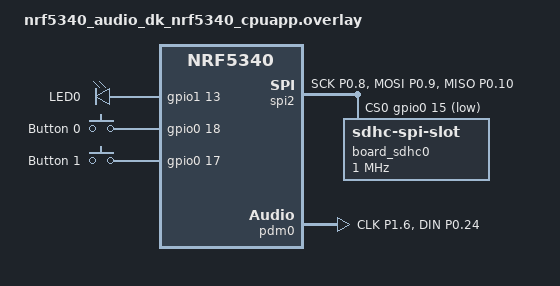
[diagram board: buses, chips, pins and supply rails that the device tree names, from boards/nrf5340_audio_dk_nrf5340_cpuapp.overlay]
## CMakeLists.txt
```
cmake_minimum_required(VERSION 3.20.0)
find_package(Zephyr REQUIRED HINTS $ENV{ZEPHYR_BASE})

project(nrf_auscultation)

target_sources(app PRIVATE src/main.c)
target_sources(app PRIVATE src/audio/wav_file.c)
target_sources(app PRIVATE src/modules/sd_card.c)
target_sources(app PRIVATE src/modules/button_handler.c)
target_sources(app PRIVATE src/audio/audio_stream.c)
```

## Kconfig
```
#
# Copyright (c) 2018 Nordic Semiconductor ASA
#
# SPDX-License-Identifier: LicenseRef-Nordic-5-Clause
#

menuconfig NRF5340_AUDIO
	 bool "nRF5340 Audio [EXPERIMENTAL]"
	 select EXPERIMENTAL

if NRF5340_AUDIO

config AUDIO_DEV
	int "Select which device type to compile for. 1=HEADSET or 2=GATEWAY"
	range 1 2
	default 1
	help
	  Setting this variable to 1 selects that the project is compiled
	  as a HEADSET device.
	  Setting to 2 will compile as a GATEWAY.

choice NRF5340_AUDIO_TRANSPORT_MODE
	prompt "Choose BIS or CIS for ISO transport"
	default TRANSPORT_CIS if WALKIE_TALKIE_DEMO
	default TRANSPORT_CIS

config TRANSPORT_BIS
	bool "Use BIS (Broadcast Isochronous Stream)"

config TRANSPORT_CIS
	bool "Use CIS (Connected Isochronous Stream)"

endchoice

#----------------------------------------------------------------------------#
#rsource "Kconfig.defaults"
#rsource "src/audio/Kconfig"
#rsource "src/bluetooth/Kconfig"
#rsource "src/drivers/Kconfig"
rsource "src/modules/Kconfig"
#rsource "src/utils/Kconfig"
#rsource "dfu/conf/Kconfig.dfu"

#----------------------------------------------------------------------------#
menu "Logging"

module = MAIN
module-str = main
source "subsys/logging/Kconfig.template.log_config"

config PRINT_STACK_USAGE_MS
	depends on THREAD_ANALYZER && INIT_STACKS
	int "Print stack usage every x milliseconds"
	default 5000

endmenu # Log levels

#----------------------------------------------------------------------------#
endif # NRF5340_AUDIO

source "Kconfig.zephyr"
```

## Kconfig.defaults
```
#
# Copyright (c) 2022 Nordic Semiconductor ASA
#
# SPDX-License-Identifier: LicenseRef-Nordic-5-Clause
#

config REBOOT
	default y

config MAIN_THREAD_PRIORITY
	default 10

config MAIN_STACK_SIZE
	default 1800 if SD_CARD_PLAYBACK
	default 1600

config SYSTEM_WORKQUEUE_STACK_SIZE
	default 1200

# As long as thread names are used, config must be set to "y"
config THREAD_NAME
	default y

config NCS_INCLUDE_RPMSG_CHILD_IMAGE
	default !BT_LL_ACS_NRF53

# Workaround to not use fatal_error.c in NCS. Note that the system may still
# reset on error depending on the build configuraion
config RESET_ON_FATAL_ERROR
	default n

# Default Config for Debug and Release build
config HW_CODEC_CIRRUS_LOGIC
	default y

config BT
	default y

#config BOARD_ENABLE_DCDC_APP
#	default y

#config BOARD_ENABLE_DCDC_NET
#	default y

config BOARD_ENABLE_CPUNET
	default y

config NFCT_PINS_AS_GPIOS
	default y

config ZBUS
	default y

config ZBUS_RUNTIME_OBSERVERS
	default y

config ZBUS_MSG_SUBSCRIBER
	default y

config SENSOR
	default y

config REGULATOR
	default y

config CONTIN_ARRAY
	default y

config NRFX_I2S0
	default y

config PCM_MIX
	default y

config TONE
	default y

config PSCM
	default y

config DATA_FIFO
	default y

# Enable NRFX_CLOCK for ACLK control
config NRFX_CLOCK
	default y

config I2C
	default y

choice LIBC_IMPLEMENTATION
	# NOTE: Since we are not using minimal libc, error codes from
	#       minimal libc are not used
	default NEWLIB_LIBC
endchoice

# Audio codec LC3 related defines
# FPU_SHARING enables preservation of the hardware floating point registers
# across context switches to allow multiple threads to perform concurrent
# floating point operations.
config FPU
	default y

config FPU_SHARING
	default y

# Enable SDHC interface
config DISK_DRIVERS
	default y

config DISK_DRIVER_SDMMC
	default y

# Enable SPI interface
config SPI
	default y

# Enable ADC for board version readback
config ADC
	default y

# Allocate buffer on RAM for transferring chunck of data
# from Flash to SPI
config SPI_NRFX_RAM_BUFFER_SIZE
	default 8

# Config the file system
config FILE_SYSTEM
	default y

config FAT_FILESYSTEM_ELM
	default y

config FS_FATFS_LFN
	default y
choice FS_FATFS_LFN_MODE
	# Using stack for LFN work queue
	default FS_FATFS_LFN_MODE_STACK
endchoice

# exFAT enabled to support longer file names and higher transfer speed
config FS_FATFS_EXFAT
	default y

# Set the maximum file name length to 255
config FS_FATFS_MAX_LFN
	default 255

#config BT_LL_ACS_NRF53
#	default y

config WATCHDOG
	default y

config TASK_WDT
	default y
```

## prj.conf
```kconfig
CONFIG_AUDIO_DMIC=y
CONFIG_AUDIO=y
CONFIG_DMA=y
CONFIG_GPIO=y

# Config RTT
CONFIG_RTT_CONSOLE=y
CONFIG_USE_SEGGER_RTT=y
CONFIG_LOG_BACKEND_RTT=y
CONFIG_LOG_PRINTK=y

CONFIG_UART_CONSOLE=n
CONFIG_LOG_BACKEND_UART=n
CONFIG_LOG=y
CONFIG_LOG_MODE_MINIMAL=y
CONFIG_DEBUG=y

# Config SD Card
CONFIG_FILE_SYSTEM=y
CONFIG_FAT_FILESYSTEM_ELM=y
CONFIG_DISK_ACCESS=y
CONFIG_MAIN_STACK_SIZE=16384 
CONFIG_DISK_DRIVER_SDMMC=y
CONFIG_SDMMC_STACK=y

CONFIG_NCS_SAMPLES_DEFAULTS=y

# Config BLE
# Core BLE support on app core
CONFIG_BT=y
CONFIG_BT_PERIPHERAL=y
CONFIG_BT_DEVICE_NAME="Heart Patch"

# Optional BLE LBS Service
CONFIG_BT_LBS=y
CONFIG_BT_LBS_POLL_BUTTON=y

# BLE Security 
CONFIG_BT_SMP=y

# BLE Flash and settings
CONFIG_BT_HCI=y
CONFIG_BT_SETTINGS=n
CONFIG_SETTINGS=n
CONFIG_FLASH=y
CONFIG_FLASH_PAGE_LAYOUT=y
CONFIG_FLASH_MAP=y
# CONFIG_NVS=y 
```

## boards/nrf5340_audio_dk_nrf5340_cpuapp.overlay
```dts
/ {
    aliases {
        led0 = &board_led0;
        sw0  = &board_button0;
        sw1  = &board_button1; 
        spi-sd = &spi2;
    };

    leds {
        compatible = "gpio-leds";

        board_led0: led_0 {
            gpios = <&gpio1 13 GPIO_ACTIVE_HIGH>;
            label = "LED0";
        };
    };

    buttons {
        compatible = "gpio-keys";

        board_button0: button_0 {
            gpios = <&gpio0 18 GPIO_ACTIVE_HIGH>;
            label = "Button 0";
        };

        board_button1: button_1 {
            gpios = <&gpio0 17 GPIO_ACTIVE_HIGH>;
            label = "Button 1";
        };
    };
};

&spi2 {
    compatible = "nordic,nrf-spim";
    status = "okay";
    pinctrl-0 = <&spi2_sd_pins>;
    pinctrl-names = "default";
    cs-gpios = <&gpio0 15 GPIO_ACTIVE_LOW>;  // CS index 0

    board_sdhc0: sdhc@0 {
        compatible = "zephyr,sdhc-spi-slot";
        reg = <0>;
        status = "okay";

        sdmmc {
            compatible = "zephyr,sdmmc-disk";
            status = "okay";
            label = "SD";  
        };

        spi-max-frequency = <1000000>;
    };
};

&pinctrl {
    spi2_sd_pins: spi2_sd_pins {
        group1 {
            psels = <NRF_PSEL(SPIM_SCK, 0, 8)>,
                    <NRF_PSEL(SPIM_MOSI, 0, 9)>,
                    <NRF_PSEL(SPIM_MISO, 0, 10)>;
        };
    };
};



&clock {
    hfclkaudio-frequency = <12288000>;  // 12.288 MHz
};

&pinctrl {
	pdm0_default_alt: pdm0_default_alt {
		group1 {
			psels = <NRF_PSEL(PDM_CLK, 1, 6)>,
				<NRF_PSEL(PDM_DIN, 0, 24)>;
		};
	};
};

dmic_dev: &pdm0 {
	status = "okay";
	pinctrl-0 = <&pdm0_default_alt>;
	pinctrl-names = "default";
	clock-source = "ACLK";
};
```

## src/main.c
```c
#include <zephyr/kernel.h>
#include <zephyr/drivers/gpio.h>
#include <zephyr/logging/log.h>
#include "modules/button_handler.h"
#include "modules/led_controller.h"
#include "modules/sd_card.h"
#include "audio/wav_file.h"
#include "audio/audio_stream.h"
#include <zephyr/drivers/gpio.h>
#include <zephyr/audio/dmic.h>
#include "macros.h"
#include "event_handler.h"
#include "ble/ble_manager.h"

LOG_MODULE_REGISTER(main);

int main(void)
{
    int ret;
	LOG_INF("Turning on");

	ret = button_handler_init();
	if(ret!=0) LOG_ERR("Buttons failed to init");
    ret = led_controller_init();
	if(ret!=0) LOG_ERR("LEDs failed to init");

    LOG_INF("Configured Buttons & Interrupts");

	static struct fs_file_t wav_file;

	WavConfig wav_config = {
			.wav_file = &wav_file,
			.file_name = "testfile.wav",
			.length = WAV_LENGTH_BLOCKS * MAX_BLOCK_SIZE,
			.sample_rate = MAX_SAMPLE_RATE,
			.bytes_per_sample = BYTES_PER_SAMPLE,
			.num_channels = NUM_CHANNELS,
	};

	AudioStream audio_stream = {
		.wav_config = wav_config,
		.dmic_ctx = DEVICE_DT_GET(DT_NODELABEL(pdm0)),
		.pdm_gain = NRF_PDM_GAIN_MAXIMUM
	};

    LOG_INF("BLOCK SIZE: %d\n", MAX_BLOCK_SIZE);

	ret = pdm_init(&audio_stream);
	if (ret != 0) LOG_ERR("pdm config failed");
	
    ret = sd_card_init();
	if(ret!=0) LOG_ERR("SD Failed to init");

    event_handler_set_audio_stream(&audio_stream);

    //Start up the application
    AppEvent ev = { .type = EVENT_START_UP};
    event_handler_post(ev);
	
	ret = ble_init();
	if(ret!=0) LOG_ERR("BLE Failed to init");

    LOG_INF("Entering main event loop…");
    event_handler_run();
}
```

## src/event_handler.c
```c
#include "event_handler.h"
#include <zephyr/kernel.h>
#include <zephyr/logging/log.h>
#include "modules/led_controller.h"
#include "modules/ble_manager.h"

LOG_MODULE_REGISTER(event_handler);

K_MSGQ_DEFINE(_event_queue, sizeof(AppEvent), 8, 4);
K_SEM_DEFINE(_event_sem, 0, 1);

typedef enum {
    STATE_IDLE,
    STATE_ADVERTISING,
    STATE_CONNECTED,
    STATE_STREAMING
} AppState;

static AppState app_state = STATE_IDLE;
static AudioStream *audio_stream_ptr = NULL;

void event_handler_set_audio_stream(AudioStream *audio_stream) {
    audio_stream_ptr = audio_stream;
}

void event_handler_post(AppEvent evt)
{
    k_msgq_put(&_event_queue, &evt, K_NO_WAIT);
    k_sem_give(&_event_sem);
}

static void handle_event(AppEvent evt)
{
    switch (app_state) {
        case STATE_IDLE:
            if (evt.type == EVENT_BUTTON_0_PRESS && audio_stream_ptr != NULL) {
                led_controller_start_blinking(K_MSEC(500));
                ble_advertise();
                app_state = STATE_ADVERTISING;
            }
            break;
            // if (evt.type == EVENT_BUTTON_0_PRESS && audio_stream_ptr != NULL) {
            //     led_controller_stop_blinking();
            //     led_controller_on();
            //     int ret = open_wav_for_write(&audio_stream_ptr->wav_config);
            //     capture_audio(audio_stream_ptr);
            //     led_controller_off();
            //     //ble_start_advertising();
            //     app_state = STATE_STREAMING;
            // }
            // break;

        case STATE_ADVERTISING:
            if (evt.type == EVENT_BLE_CONNECTED) {
                led_controller_stop_blinking();
                led_controller_on();
                //led_set_mode(LED_OFF);
                app_state = STATE_CONNECTED;
            }
            break;

        case STATE_CONNECTED:
            if (evt.type == EVENT_BUTTON_0_PRESS) {
                publish_button_state(1);
                //app_state = STATE_STREAMING;
            } else if (evt.type = EVENT_BLE_TOGGLE_LED) {
                bool state = *(bool *)(evt.data);
                led_controller_set(state);
            }
            break;

        case STATE_STREAMING:
            // if (evt.type == EVENT_AUDIO_FINISHED) {
            //     //audio_stop();
            //     //led_set_mode(LED_OFF);
            //     app_state = STATE_CONNECTED;
            // }
            led_controller_start_blinking(K_MSEC(500));
            app_state = STATE_IDLE;
            break;
        }
}

int event_handler_run(void)
{
    LOG_INF("Starting event handler loop");

    while (1) {
        k_sem_take(&_event_sem, K_FOREVER);
        AppEvent evt;
        while (k_msgq_get(&_event_queue, &evt, K_NO_WAIT) == 0) {
            handle_event(evt);
        }
    }

    return 0;
}
```

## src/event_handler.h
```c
#ifndef EVENT_HANDLER_H
#define EVENT_HANDLER_H

#include "audio/audio_stream.h"

int event_handler_run(void);  

typedef enum {
    EVENT_START_UP,
    EVENT_BUTTON_0_PRESS,
    EVENT_BUTTON_1_PRESS,
    EVENT_BLE_CONNECTED,
    EVENT_BLE_DISCONNECTED,
    EVENT_AUDIO_FINISHED,
    EVENT_BLE_START_STREAMING,
    EVENT_BLE_STOP_STREAMING,
    EVENT_BLE_TOGGLE_LED
} AppEventType;

typedef struct {
    AppEventType type;
    void *data;  
} AppEvent;

void event_handler_post(AppEvent evt);

void event_handler_set_audio_stream(AudioStream *stream);

#endif
```

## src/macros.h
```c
#ifndef _MACROS_H_
#define _MACROS_H_

//Device Tree Aliases:
#define LED0_NODE DT_ALIAS(led0)
#define SW0_NODE DT_ALIAS(sw0)
#define SW1_NODE DT_ALIAS(sw1)

#define MAX_SAMPLE_RATE  16000
#define SAMPLE_BIT_WIDTH 16
#define BYTES_PER_SAMPLE 2
#define NUM_CHANNELS 1
#define READ_TIMEOUT 1000
#define WAV_LENGTH_BLOCKS 100

#define BLOCK_SIZE(_sample_rate, _number_of_channels) \
(BYTES_PER_SAMPLE * (_sample_rate / 10) * _number_of_channels)

#define MAX_BLOCK_SIZE  BLOCK_SIZE(MAX_SAMPLE_RATE, 2)


#endif
```
